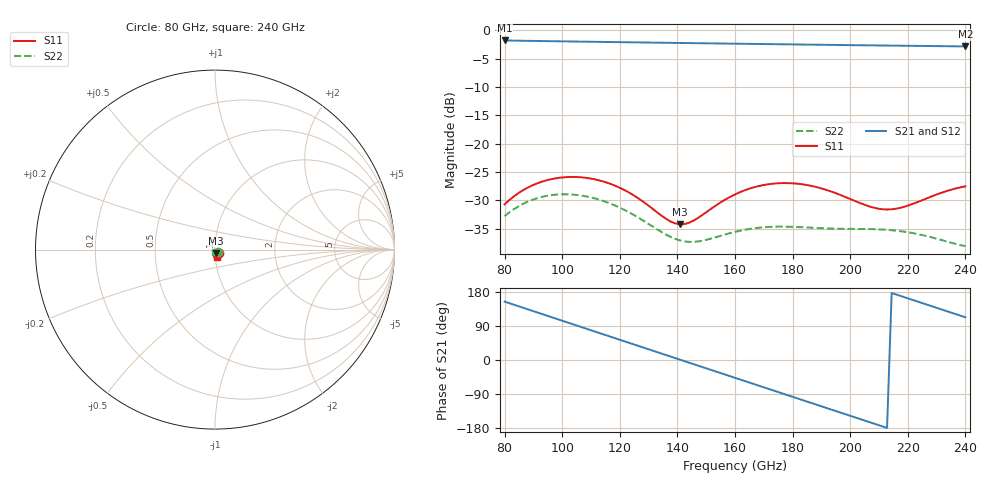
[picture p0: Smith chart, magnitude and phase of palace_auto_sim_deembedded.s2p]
! Created with skrf 1.11.0 (http://scikit-rf.org).
# GHz S DB R 50.0
!freq dBS11 angS11 dBS21 angS21 dBS12 angS12 dBS22 angS22
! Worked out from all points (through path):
!   101 points, 80 GHz to 240 GHz, reference 50 ohm
!   highest |S21| = -1.81 dB at 80 GHz (marker M1); lowest = -2.9 dB at 240 GHz (marker M2)
!   group delay of S21, straight-line fit = 6.97 ps
!   lowest |S11| = -34.2 dB at 140.8 GHz (marker M3), VSWR 1.04, Z = 50.3 - j1.93 ohm
!   |S11| at or under -10 dB: start of sweep to end of sweep
!   |S22| runs from -38.1 to -28.9 dB; largest |S21 - S12| = 1.3e-15
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80  -30.71 -40.5  -1.81 154.0  -1.81 154.0  -32.79 -39.7
86.4  -28.22 -44.4  -1.87 137.9  -1.87 137.9  -30.62 -42.2
94.4  -26.50 -55.8  -1.93 117.8  -1.93 117.8  -29.24 -52.3
100.8  -25.94 -66.7  -1.98 101.7  -1.98 101.7  -28.94 -62.1
107.2  -25.98 -77.8  -2.02 85.6  -2.02 85.6  -29.21 -72.1
113.6  -26.59 -88.2  -2.07 69.5  -2.07 69.5  -30.01 -81.3
120  -27.79 -97.1  -2.11 53.4  -2.11 53.4  -31.30 -88.8
128  -30.21 -103.0  -2.17 33.3  -2.17 33.3  -33.54 -93.6
134.4  -32.68 -98.6  -2.21 17.2  -2.21 17.2  -35.57 -91.0
140.8  -34.23 -81.1  -2.26 1.1  -2.26 1.1  -37.07 -81.4
150.4  -31.97 -58.0  -2.32 -22.9  -2.32 -22.9  -36.93 -65.0
160  -28.97 -59.0  -2.38 -47.0  -2.38 -47.0  -35.58 -60.6
168  -27.52 -67.5  -2.43 -67.1  -2.43 -67.1  -34.86 -63.0
174.4  -27.02 -75.8  -2.47 -83.1  -2.47 -83.1  -34.66 -66.1
180.8  -27.04 -84.0  -2.52 -99.2  -2.52 -99.2  -34.70 -69.0
187.2  -27.54 -91.3  -2.56 -115.2  -2.56 -115.2  -34.85 -71.0
201.6  -30.11 -97.2  -2.65 -151.2  -2.65 -151.2  -35.05 -74.1
208  -31.28 -91.5  -2.68 -167.2  -2.68 -167.2  -35.09 -76.5
214.4  -31.59 -81.3  -2.72 176.8  -2.72 176.8  -35.28 -79.7
225.6  -29.86 -69.7  -2.78 148.7  -2.78 148.7  -36.20 -84.8
233.6  -28.36 -70.7  -2.83 128.7  -2.83 128.7  -37.28 -85.1
240  -27.53 -74.8  -2.86 112.7  -2.86 112.7  -38.09 -81.5
